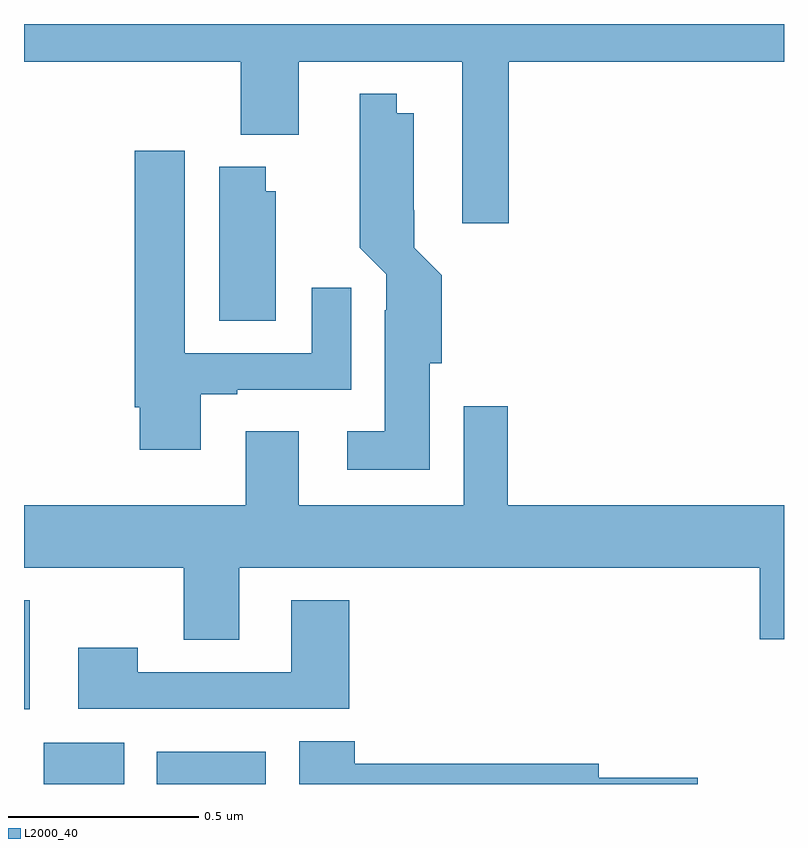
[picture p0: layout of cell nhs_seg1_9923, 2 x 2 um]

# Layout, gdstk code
import gdstk
lib = gdstk.Library(unit=1e-6, precision=1e-09)
def R(c, l, rs):  # rectangles x0, y0, x1, y1
    for r in rs: c.add(gdstk.rectangle(r[:2], r[2:], *l))
def P(c, l, *ps):  # polygons
    for p in ps: c.add(gdstk.Polygon(p, *l))
L2000_40 = (2000, 40)

nhs_seg1_9923 = lib.new_cell('nhs_seg1_9923')
R(nhs_seg1_9923, L2000_40, [(235.052,515.199,235.264,515.308), (235.349,515.199,235.636,515.284), (235,515.396,235.015,515.683)])
P(nhs_seg1_9923, L2000_40, [(236.276,517.1),(237,517.1),(237,517.199),(235,517.199),(235,517.1),(235.571,517.1),(235.571,516.908),(235.723,516.908),(235.723,517.1),(236.153,517.1),(236.153,516.675),(236.276,516.675)],
  [(236.068,516.306),(236.099,516.306),(236.099,516.538),(236.027,516.61),(236.027,516.709),(236.026,516.709),(236.026,516.964),(235.981,516.964),(235.981,517.015),(235.884,517.015),(235.884,516.712),(235.883,516.712),(235.883,516.61),(235.953,516.54),(235.953,516.446),(235.949,516.446),(235.949,516.127),(235.851,516.127),(235.851,516.026),(236.068,516.026)],
  [(235.465,516.225),(235.561,516.225),(235.561,516.237),(235.861,516.237),(235.861,516.505),(235.757,516.505),(235.757,516.333),(235.423,516.333),(235.423,516.865),(235.292,516.865),(235.292,516.19),(235.304,516.19),(235.304,516.078),(235.465,516.078)],
  [(235.663,516.759),(235.636,516.759),(235.636,516.823),(235.514,516.823),(235.514,516.418),(235.663,516.418)],
  [(235.567,515.768),(236.936,515.768),(236.936,515.58),(237,515.58),(237,515.932),(236.273,515.932),(236.273,516.193),(236.157,516.193),(236.157,515.932),(235.723,515.932),(235.723,516.127),(235.583,516.127),(235.583,515.932),(235,515.932),(235,515.768),(235.42,515.768),(235.42,515.578),(235.567,515.578)],
  [(235.856,515.683),(235.703,515.683),(235.703,515.493),(235.299,515.493),(235.299,515.557),(235.143,515.557),(235.143,515.397),(235.856,515.397)],
  [(236.773,515.216),(236.512,515.216),(236.512,515.252),(235.871,515.252),(235.871,515.312),(235.724,515.312),(235.724,515.199),(236.773,515.199)])

lib.write_gds('nhs_seg1_9923.gds')
